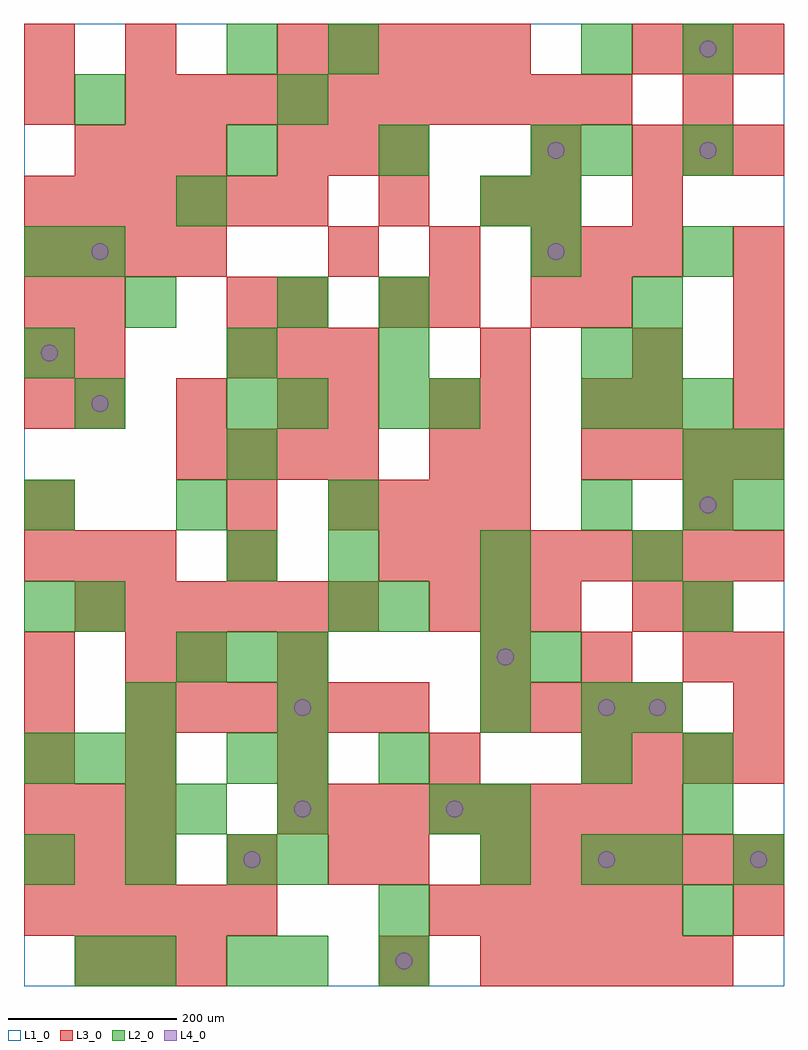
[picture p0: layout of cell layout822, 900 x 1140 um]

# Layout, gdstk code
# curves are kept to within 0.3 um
import gdstk
lib = gdstk.Library(unit=1e-6, precision=1e-09)
def R(c, l, rs):  # rectangles x0, y0, x1, y1
    for r in rs: c.add(gdstk.rectangle(r[:2], r[2:], *l))
def A(c, l, x, y, w, h, nx, ny, dx, dy):  # array of equal rectangles
    R(c, l, [(x+i*dx, y+j*dy, x+i*dx+w, y+j*dy+h) for i in range(nx) for j in range(ny)])
def P(c, l, *ps):  # polygons
    for p in ps: c.add(gdstk.Polygon(p, *l))
L1_0 = (1, 0)
L2_0 = (2, 0)
L3_0 = (3, 0)
L4_0 = (4, 0)

layout822 = lib.new_cell('layout822')
R(layout822, L1_0, [(0,0,900,1140)])
A(layout822, L2_0, 240, 0, 60, 60, 1, 3, 0, 240)
A(layout822, L2_0, 420, 60, 60, 60, 1, 3, 0, 180)
A(layout822, L2_0, 0, 120, 60, 60, 3, 1, 120, 0)
A(layout822, L2_0, 300, 120, 60, 60, 1, 4, 0, 60)
A(layout822, L2_0, 0, 240, 60, 60, 3, 1, 60, 0)
A(layout822, L2_0, 540, 300, 60, 60, 1, 3, 0, 60)
A(layout822, L2_0, 180, 360, 60, 60, 3, 1, 60, 0)
A(layout822, L2_0, 360, 480, 60, 60, 3, 1, 180, 0)
A(layout822, L2_0, 0, 540, 60, 60, 3, 1, 180, 0)
A(layout822, L2_0, 240, 600, 60, 60, 1, 3, 0, 60)
A(layout822, L2_0, 60, 660, 60, 60, 1, 3, 0, 180)
A(layout822, L2_0, 420, 660, 60, 60, 1, 3, 0, 60)
A(layout822, L2_0, 660, 660, 60, 60, 3, 1, 60, 0)
A(layout822, L2_0, 780, 840, 60, 60, 1, 3, 0, 120)
A(layout822, L2_0, 240, 960, 60, 60, 3, 1, 180, 0)
R(layout822, L2_0, [(60,0,120,60), (120,0,180,60), (300,0,360,60), (420,0,480,60), (780,60,840,120), (540,120,600,180), (660,120,720,180), (720,120,780,180), (840,120,900,180), (120,180,180,240), (180,180,240,240), (480,180,540,240), (540,180,600,240), (780,180,840,240), (660,240,720,300), (780,240,840,300), (120,300,180,360), (660,300,720,360), (720,300,780,360), (600,360,660,420), (0,420,60,480), (60,420,120,480), (360,420,420,480), (780,420,840,480), (660,540,720,600), (780,540,840,600), (840,540,900,600), (780,600,840,660), (840,600,900,660), (300,660,360,720), (480,660,540,720), (0,720,60,780), (660,720,720,780), (720,720,780,780), (120,780,180,840), (300,780,360,840), (720,780,780,840), (0,840,60,900), (600,840,660,900), (180,900,240,960), (540,900,600,960), (600,900,660,960), (660,960,720,1020), (300,1020,360,1080), (240,1080,300,1140), (360,1080,420,1140), (660,1080,720,1140)])
A(layout822, L3_0, 60, 0, 60, 60, 3, 2, 60, 960)
A(layout822, L3_0, 540, 0, 60, 60, 5, 1, 60, 0)
A(layout822, L3_0, 0, 60, 60, 60, 5, 1, 60, 0)
A(layout822, L3_0, 480, 60, 60, 60, 5, 1, 60, 0)
A(layout822, L3_0, 0, 120, 60, 60, 3, 2, 60, 60)
A(layout822, L3_0, 540, 120, 60, 60, 6, 1, 60, 0)
A(layout822, L3_0, 300, 180, 60, 60, 8, 1, 60, 0)
A(layout822, L3_0, 0, 240, 60, 60, 1, 3, 0, 60)
A(layout822, L3_0, 120, 240, 60, 60, 4, 1, 180, 0)
A(layout822, L3_0, 720, 240, 60, 60, 3, 2, 60, 720)
A(layout822, L3_0, 120, 300, 60, 60, 6, 1, 60, 0)
A(layout822, L3_0, 540, 300, 60, 60, 4, 1, 60, 0)
A(layout822, L3_0, 540, 360, 60, 60, 3, 1, 120, 0)
A(layout822, L3_0, 60, 420, 60, 60, 6, 1, 60, 0)
A(layout822, L3_0, 480, 420, 60, 60, 3, 1, 60, 0)
A(layout822, L3_0, 0, 480, 60, 60, 3, 1, 60, 0)
A(layout822, L3_0, 420, 480, 60, 60, 8, 1, 60, 0)
A(layout822, L3_0, 360, 540, 60, 60, 4, 1, 60, 0)
A(layout822, L3_0, 180, 600, 60, 60, 4, 1, 60, 0)
A(layout822, L3_0, 540, 600, 60, 60, 1, 3, 0, 60)
A(layout822, L3_0, 660, 600, 60, 60, 4, 1, 60, 0)
A(layout822, L3_0, 0, 660, 60, 60, 1, 3, 0, 60)
A(layout822, L3_0, 60, 660, 60, 60, 3, 1, 120, 0)
A(layout822, L3_0, 840, 660, 60, 60, 1, 4, 0, 60)
A(layout822, L3_0, 240, 720, 60, 60, 3, 1, 60, 0)
A(layout822, L3_0, 0, 840, 60, 60, 4, 1, 60, 0)
A(layout822, L3_0, 360, 840, 60, 60, 3, 1, 120, 0)
A(layout822, L3_0, 0, 900, 60, 60, 6, 1, 60, 0)
A(layout822, L3_0, 300, 960, 60, 60, 3, 1, 60, 0)
A(layout822, L3_0, 120, 1020, 60, 60, 10, 1, 60, 0)
A(layout822, L3_0, 300, 1080, 60, 60, 5, 1, 60, 0)
A(layout822, L3_0, 720, 1080, 60, 60, 3, 1, 60, 0)
R(layout822, L3_0, [(420,0,480,60), (840,60,900,120), (240,120,300,180), (360,120,420,180), (420,120,480,180), (840,300,900,360), (120,360,180,420), (180,360,240,420), (300,360,360,420), (840,360,900,420), (720,420,780,480), (780,420,840,480), (240,480,300,540), (0,540,60,600), (240,540,300,600), (780,540,840,600), (480,600,540,660), (360,660,420,720), (480,660,540,720), (660,660,720,720), (720,660,780,720), (60,720,120,780), (720,720,780,780), (60,780,120,840), (240,780,300,840), (300,780,360,840), (420,780,480,840), (480,780,540,840), (600,780,660,840), (660,780,720,840), (660,840,720,900), (720,840,780,900), (420,900,480,960), (540,900,600,960), (600,900,660,960), (720,900,780,960), (600,960,660,1020), (0,1020,60,1080), (780,1020,840,1080), (0,1080,60,1140), (120,1080,180,1140)])
P(layout822, L4_0, [(40,750),(39.239,753.827),(37.071,757.071),(33.827,759.239),(30,760),(26.173,759.239),(22.929,757.071),(20.761,753.827),(20,750),(20.761,746.173),(22.929,742.929),(26.173,740.761),(30,740),(33.827,740.761),(37.071,742.929),(39.239,746.173)],
  [(100,690),(99.239,693.827),(97.071,697.071),(93.827,699.239),(90,700),(86.173,699.239),(82.929,697.071),(80.761,693.827),(80,690),(80.761,686.173),(82.929,682.929),(86.173,680.761),(90,680),(93.827,680.761),(97.071,682.929),(99.239,686.173)],
  [(100,870),(99.239,873.827),(97.071,877.071),(93.827,879.239),(90,880),(86.173,879.239),(82.929,877.071),(80.761,873.827),(80,870),(80.761,866.173),(82.929,862.929),(86.173,860.761),(90,860),(93.827,860.761),(97.071,862.929),(99.239,866.173)],
  [(280,150),(279.239,153.827),(277.071,157.071),(273.827,159.239),(270,160),(266.173,159.239),(262.929,157.071),(260.761,153.827),(260,150),(260.761,146.173),(262.929,142.929),(266.173,140.761),(270,140),(273.827,140.761),(277.071,142.929),(279.239,146.173)],
  [(340,210),(339.239,213.827),(337.071,217.071),(333.827,219.239),(330,220),(326.173,219.239),(322.929,217.071),(320.761,213.827),(320,210),(320.761,206.173),(322.929,202.929),(326.173,200.761),(330,200),(333.827,200.761),(337.071,202.929),(339.239,206.173)],
  [(340,330),(339.239,333.827),(337.071,337.071),(333.827,339.239),(330,340),(326.173,339.239),(322.929,337.071),(320.761,333.827),(320,330),(320.761,326.173),(322.929,322.929),(326.173,320.761),(330,320),(333.827,320.761),(337.071,322.929),(339.239,326.173)],
  [(460,30),(459.239,33.827),(457.071,37.071),(453.827,39.239),(450,40),(446.173,39.239),(442.929,37.071),(440.761,33.827),(440,30),(440.761,26.173),(442.929,22.929),(446.173,20.761),(450,20),(453.827,20.761),(457.071,22.929),(459.239,26.173)],
  [(520,210),(519.239,213.827),(517.071,217.071),(513.827,219.239),(510,220),(506.173,219.239),(502.929,217.071),(500.761,213.827),(500,210),(500.761,206.173),(502.929,202.929),(506.173,200.761),(510,200),(513.827,200.761),(517.071,202.929),(519.239,206.173)],
  [(580,390),(579.239,393.827),(577.071,397.071),(573.827,399.239),(570,400),(566.173,399.239),(562.929,397.071),(560.761,393.827),(560,390),(560.761,386.173),(562.929,382.929),(566.173,380.761),(570,380),(573.827,380.761),(577.071,382.929),(579.239,386.173)],
  [(640,870),(639.239,873.827),(637.071,877.071),(633.827,879.239),(630,880),(626.173,879.239),(622.929,877.071),(620.761,873.827),(620,870),(620.761,866.173),(622.929,862.929),(626.173,860.761),(630,860),(633.827,860.761),(637.071,862.929),(639.239,866.173)],
  [(640,990),(639.239,993.827),(637.071,997.071),(633.827,999.239),(630,1000),(626.173,999.239),(622.929,997.071),(620.761,993.827),(620,990),(620.761,986.173),(622.929,982.929),(626.173,980.761),(630,980),(633.827,980.761),(637.071,982.929),(639.239,986.173)],
  [(700,150),(699.239,153.827),(697.071,157.071),(693.827,159.239),(690,160),(686.173,159.239),(682.929,157.071),(680.761,153.827),(680,150),(680.761,146.173),(682.929,142.929),(686.173,140.761),(690,140),(693.827,140.761),(697.071,142.929),(699.239,146.173)],
  [(700,330),(699.239,333.827),(697.071,337.071),(693.827,339.239),(690,340),(686.173,339.239),(682.929,337.071),(680.761,333.827),(680,330),(680.761,326.173),(682.929,322.929),(686.173,320.761),(690,320),(693.827,320.761),(697.071,322.929),(699.239,326.173)],
  [(760,330),(759.239,333.827),(757.071,337.071),(753.827,339.239),(750,340),(746.173,339.239),(742.929,337.071),(740.761,333.827),(740,330),(740.761,326.173),(742.929,322.929),(746.173,320.761),(750,320),(753.827,320.761),(757.071,322.929),(759.239,326.173)],
  [(820,570),(819.239,573.827),(817.071,577.071),(813.827,579.239),(810,580),(806.173,579.239),(802.929,577.071),(800.761,573.827),(800,570),(800.761,566.173),(802.929,562.929),(806.173,560.761),(810,560),(813.827,560.761),(817.071,562.929),(819.239,566.173)],
  [(820,990),(819.239,993.827),(817.071,997.071),(813.827,999.239),(810,1000),(806.173,999.239),(802.929,997.071),(800.761,993.827),(800,990),(800.761,986.173),(802.929,982.929),(806.173,980.761),(810,980),(813.827,980.761),(817.071,982.929),(819.239,986.173)],
  [(820,1110),(819.239,1113.827),(817.071,1117.071),(813.827,1119.239),(810,1120),(806.173,1119.239),(802.929,1117.071),(800.761,1113.827),(800,1110),(800.761,1106.173),(802.929,1102.929),(806.173,1100.761),(810,1100),(813.827,1100.761),(817.071,1102.929),(819.239,1106.173)],
  [(880,150),(879.239,153.827),(877.071,157.071),(873.827,159.239),(870,160),(866.173,159.239),(862.929,157.071),(860.761,153.827),(860,150),(860.761,146.173),(862.929,142.929),(866.173,140.761),(870,140),(873.827,140.761),(877.071,142.929),(879.239,146.173)])

lib.write_gds('layout822.gds')
